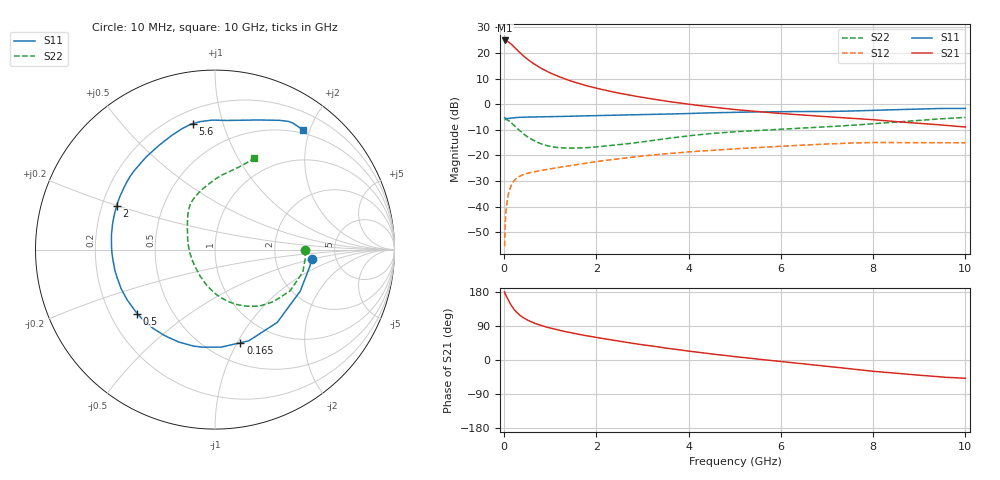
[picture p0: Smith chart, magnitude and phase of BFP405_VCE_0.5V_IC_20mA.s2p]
! Infineon Technologies  Discrete & RF Semiconductors
! BFP405
! VCE =  0.5 V,  IC =  20 mA
! Common Emitter S-Parameters:  Jan 2016
# GHz  S  MA  R  50
!  f  S11  S21  S12  S22
! GHz  MAG  ANG  MAG  ANG  MAG  ANG  MAG  ANG
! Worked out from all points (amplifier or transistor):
!   233 points, 10 MHz to 10 GHz, reference 50 ohm
!   highest |S21| = 24.9 dB at 20 MHz (marker M1)
!   |S21| within 3 dB of that: start of sweep to 242.6 MHz
!   unconditionally stable (mu >= 1): start of sweep to 91.5 MHz; 506.6 MHz to end of sweep
!   at 200 MHz: K = 0.73, MSG = 26.4 dB, |S12| = -30.2 dB
!   at 1.74 GHz: K = 2.04, MAG = 9.5 dB, |S12| = -23.1 dB
!   at 10 GHz: K = 2.19, MAG = -3.1 dB, |S12| = -15.1 dB
!   S11 on the Smith chart (normalised r, x): 10 MHz: 3.29, -0.47; 165 MHz: 0.71, -1.03; 500 MHz: 0.31, -0.33; 2 GHz: 0.26, +0.20; 5.6 GHz: 0.28, +0.80; 10 GHz: 0.44, +1.88
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0.01  0.5418 -5.3  17.55 179.6  0.0017 84.5  0.4994 -0.5
0.02  0.5364 -10.2  17.55 174.9  0.0042 80.1  0.5055 -5.3
0.05  0.5284 -26.0  17.22 167.7  0.0102 77.2  0.505 -14.3
0.1  0.5337 -49.5  16.32 155.2  0.0189 67.7  0.4775 -28.7
0.15  0.5419 -69.7  15.01 144.9  0.0258 59.7  0.4369 -41.4
0.165  0.5378 -74.7  14.54 142.4  0.0273 57.7  0.4244 -44.4
0.2  0.5445 -86.4  13.57 136.0  0.0309 53.8  0.4003 -52.0
0.24  0.5482 -97.6  12.49 130.0  0.034 49.9  0.3682 -59.1
0.3  0.553 -111.4  11.01 122.4  0.0379 45.1  0.3266 -69.1
0.4  0.5583 -128.2  9.089 112.7  0.0418 40.1  0.2739 -81.8
0.5  0.5615 -140.5  7.629 105.5  0.0448 37.1  0.2334 -93.0
0.7  0.5667 -157.3  5.694 95.1  0.049 34.5  0.1842 -110.9
0.9  0.5698 -168.7  4.51 87.3  0.0528 33.8  0.1581 -126.9
1.22  0.5771 177.9  3.369 77.8  0.059 34.0  0.1413 -147.9
1.68  0.5904 163.8  2.449 66.4  0.0688 34.0  0.1407 -171.7
2  0.6002 156.0  2.056 59.5  0.0757 33.4  0.1468 175.7
3.4  0.6393 128.3  1.19 33.5  0.1058 25.7  0.2069 138.1
5.1  0.7007 104.3  0.773 7.7  0.1364 12.9  0.2938 116.9
5.6  0.7126 100.0  0.706 1.1  0.1448 8.9  0.3114 111.5
6.8  0.7212 87.4  0.587 -14.1  0.1643 -1.4  0.3552 98.5
8.4  0.7786 67.9  0.465 -34.2  0.1784 -18.3  0.4416 79.6
10  0.8279 53.9  0.359 -48.2  0.1768 -29.3  0.5534 66.8
